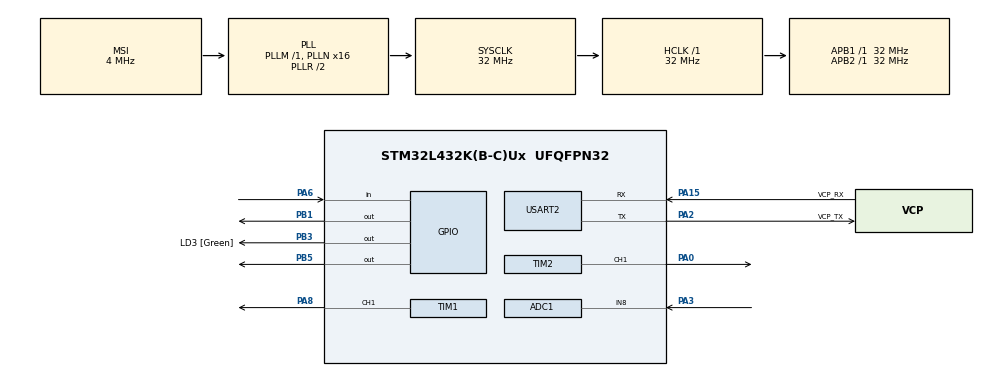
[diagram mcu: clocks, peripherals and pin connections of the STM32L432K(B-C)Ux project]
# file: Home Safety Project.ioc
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ADC1.Channel-2\#ChannelRegularConversion=ADC_CHANNEL_8
ADC1.NbrOfConversionFlag=1
ADC1.OffsetNumber-2\#ChannelRegularConversion=ADC_OFFSET_NONE
ADC1.Rank-2\#ChannelRegularConversion=1
ADC1.SamplingTime-2\#ChannelRegularConversion=ADC_SAMPLETIME_2CYCLES_5
ADC1.master=1
Mcu.Family=STM32L4
Mcu.Name=STM32L432K(B-C)Ux
Mcu.Package=UFQFPN32
NVIC.PriorityGroup=NVIC_PRIORITYGROUP_4
PA0.Signal=S_TIM2_CH1
PA13\ (JTMS-SWDIO).GPIO_Label=SWDIO
PA13\ (JTMS-SWDIO).Mode=Serial_Wire
PA13\ (JTMS-SWDIO).Signal=SYS_JTMS-SWDIO
PA14\ (JTCK-SWCLK).GPIO_Label=SWCLK
PA14\ (JTCK-SWCLK).Mode=Serial_Wire
PA14\ (JTCK-SWCLK).Signal=SYS_JTCK-SWCLK
PA15\ (JTDI).GPIO_Label=VCP_RX
PA15\ (JTDI).Mode=Asynchronous
PA15\ (JTDI).Signal=USART2_RX
PA2.GPIO_Label=VCP_TX
PA2.Mode=Asynchronous
PA2.Signal=USART2_TX
PA3.Signal=ADCx_IN8
PA6.Signal=GPIO_Input
PA8.Signal=S_TIM1_CH1
PB1.Signal=GPIO_Output
PB3\ (JTDO-TRACESWO).GPIO_Label=LD3 [Green]
PB3\ (JTDO-TRACESWO).Signal=GPIO_Output
PB5.Signal=GPIO_Output
ProjectManager.HeapSize=0x200
ProjectManager.StackSize=0x400
ProjectManager.TargetToolchain=STM32CubeIDE
RCC.ADCFreq_Value=32000000
RCC.AHBFreq_Value=32000000
RCC.APB1Freq_Value=32000000
RCC.APB1TimFreq_Value=32000000
RCC.APB2Freq_Value=32000000
RCC.APB2TimFreq_Value=32000000
RCC.CortexFreq_Value=32000000
RCC.HCLKFreq_Value=32000000
RCC.HSE_VALUE=8000000
RCC.HSI16_VALUE=16000000
RCC.HSI48_VALUE=48000000
RCC.HSI_VALUE=16000000
RCC.LSE_VALUE=32768
RCC.MSI_VALUE=4000000
RCC.PLLMUL=RCC_PLLMUL_4
RCC.PLLN=16
RCC.PLLSAI1N=16
RCC.SYSCLKFreq_VALUE=32000000
RCC.SYSCLKSource=RCC_SYSCLKSOURCE_PLLCLK
RCC.USBFreq_Value=32000000
RCC.VCOOutputFreq_Value=64000000
SH.ADCx_IN8.0=ADC1_IN8,IN8-Single-Ended
SH.S_TIM1_CH1.0=TIM1_CH1,PWM Generation1 CH1
SH.S_TIM2_CH1.0=TIM2_CH1,PWM Generation1 CH1
TIM1.Channel-PWM\ Generation1\ CH1=TIM_CHANNEL_1
TIM1.Period=19999
TIM1.Prescaler=31
TIM1.Pulse-PWM\ Generation1\ CH1=1500
TIM2.Channel-PWM\ Generation1\ CH1=TIM_CHANNEL_1
TIM2.Period=19999
TIM2.Prescaler=31
TIM2.Pulse-PWM\ Generation1\ CH1=1500
USART2.VirtualMode-Asynchronous=VM_ASYNC
VP_TIM1_VS_ClockSourceINT.Mode=Internal
VP_TIM2_VS_ClockSourceINT.Mode=Internal
board=NUCLEO-L432KC

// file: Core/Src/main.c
/* USER CODE BEGIN Header */
/**
  ******************************************************************************
  * @file           : main.c
  * @brief          : Main program body
  ******************************************************************************
  * @attention
  *
  * Copyright (c) 2023 STMicroelectronics.
  * All rights reserved.
  *
  * This software is licensed under terms that can be found in the LICENSE file
  * in the root directory of this software component.
  * If no LICENSE file comes with this software, it is provided AS-IS.
  *
  ******************************************************************************
  */
/* USER CODE END Header */
#include "main.h"

/* USER CODE BEGIN PM */
#define PULSE_LEFT 400
#define PULSE_RIGHT 2600
/* USER CODE END PM */

ADC_HandleTypeDef hadc1;

TIM_HandleTypeDef htim1;
TIM_HandleTypeDef htim2;

UART_HandleTypeDef huart2;

void SystemClock_Config(void);
static void MX_GPIO_Init(void);
static void MX_USART2_UART_Init(void);
static void MX_TIM1_Init(void);
static void MX_ADC1_Init(void);
static void MX_TIM2_Init(void);

int main(void)
{

  /* MCU Configuration--------------------------------------------------------*/

  /* Reset of all peripherals, Initializes the Flash interface and the Systick. */
  HAL_Init();

  /* Configure the system clock */
  SystemClock_Config();

  /* Initialize all configured peripherals */
  MX_GPIO_Init();
  MX_USART2_UART_Init();
  MX_TIM1_Init();
  MX_ADC1_Init();
  MX_TIM2_Init();
  /* USER CODE BEGIN 2 */
  if(HAL_TIM_PWM_Start(&htim1, TIM_CHANNEL_1) != HAL_OK)
   {
     /* PWM generation Error */
     Error_Handler();
   }

  if(HAL_TIM_PWM_Start(&htim2, TIM_CHANNEL_1) != HAL_OK)
     {
       /* PWM generation Error */
       Error_Handler();
     }

//  HAL_ADC_Start(&hadc1);

//  HAL_ADC_Start(&hadc1);

  uint8_t water_detected_message[] = "Water Detected\r\n";
  uint8_t adcValueStr[34]; // Buffer big enough for 32-bit number
  int pwm_servo_water = 0;
  int pwm_servo_gas = 0;
  int danger_water = 0;
  int danger_gas = 0;

  uint32_t adcValue = 0;

  int i = 0;
  uint32_t co2Level;

  // Convert ADC value to CO2 level using calibration equation obtained from MQ-135 Datasheet
  float convertADCtoCO2(uint32_t adcValue) {
  // Calibration curve coefficients
	float calibrationCoefficientA = 0.0123;
	float calibrationCoefficientB = 0.4567;
	float calibrationCoefficientC = 0.8901;
    float voltage = (float)adcValue * 5 / 4096;  // Convert ADC value to voltage (12-bit ADC)
    float co2Level = calibrationCoefficientA * voltage * voltage + calibrationCoefficientB * voltage + calibrationCoefficientC;
    return co2Level;
  }

  /* USER CODE END 2 */

  /* Infinite loop */
  /* USER CODE BEGIN WHILE */
  while (1)
  {
	  // Start ADC Conversion

	        // Poll ADC

	  	  // Start ADC Conversion
	  	    if(HAL_ADC_Start(&hadc1) != HAL_OK) // Starts the ADC Conversion
	  	    {
	  	      Error_Handler();
	  	    }

	  	    // Poll ADC
	  	    if(HAL_ADC_PollForConversion(&hadc1, 300) == HAL_OK)
	  	    {
	  	      // Get the converted value
	  	      adcValue = HAL_ADC_GetValue(&hadc1);
	  	    }

	        HAL_Delay(100);

	        if(HAL_ADC_Stop(&hadc1) != HAL_OK)
	        {
	          // Stop ADC Conversion
	          Error_Handler();
	        }

	        co2Level = (uint32_t)convertADCtoCO2(adcValue);
	        // Print the ADC value to the string
	        int len = sprintf(adcValueStr, "%lu\r\n", adcValue); // "%lu" is the format specifier for

	        // Delay to prevent high CPU usage
	        HAL_Delay(600);

	        GPIO_PinState Water = HAL_GPIO_ReadPin(GPIOA, GPIO_PIN_6);
	        if(Water == GPIO_PIN_SET)
	        {
	            danger_water = 1;
	            pwm_servo_water = PULSE_LEFT;			//5% Duty Cycle, (1 ms pulse --> position is all the way to the right)
	        }
	        else
	        {
	        	pwm_servo_water = PULSE_RIGHT;
	        	danger_water = 0;
//	            HAL_Delay(2000);
	        }
	        if(adcValue>1000)
	        {
	        	danger_gas = 1;
	        	pwm_servo_gas = PULSE_LEFT;			//5% Duty Cycle, (1 ms pulse --> position is all the way to the right)
	        }
	        else
	        {
	        	danger_gas = 0;
	        	pwm_servo_gas = PULSE_RIGHT;
	        }

	        if(danger_water || danger_gas)
	        {
	        	HAL_GPIO_WritePin(GPIOB, GPIO_PIN_1,GPIO_PIN_SET);
	        	HAL_GPIO_WritePin(GPIOB, GPIO_PIN_5,GPIO_PIN_SET);
	        }
	        else
	        {
	        	HAL_GPIO_WritePin(GPIOB, GPIO_PIN_1,GPIO_PIN_RESET);
				HAL_GPIO_WritePin(GPIOB, GPIO_PIN_5,GPIO_PIN_RESET);
				//10% Duty Cycle, (2 ms pulse --> position is all the way to the left)
	        }

	        __HAL_TIM_SET_COMPARE(&htim1, TIM_CHANNEL_1, pwm_servo_water);
	        __HAL_TIM_SET_COMPARE(&htim2, TIM_CHANNEL_1, pwm_servo_gas);

	        // Send the ADC value via UART
	        HAL_UART_Transmit(&huart2, (uint8_t*)adcValueStr, len, HAL_MAX_DELAY);

	        char i_str[12]; // Buffer for string representation of i
	        sprintf(i_str, "%d\r\n", i); // Convert i to string
	        HAL_UART_Transmit(&huart2, (uint8_t*)i_str, strlen(i_str), HAL_MAX_DELAY); // Transmit i
	        i++;

    /* USER CODE END WHILE */

  }
}

void SystemClock_Config(void)
{
  RCC_OscInitTypeDef RCC_OscInitStruct = {0};
  RCC_ClkInitTypeDef RCC_ClkInitStruct = {0};

  /** Configure the main internal regulator output voltage
  */
  if (HAL_PWREx_ControlVoltageScaling(PWR_REGULATOR_VOLTAGE_SCALE1) != HAL_OK)
  {
    Error_Handler();
  }

  /** Initializes the RCC Oscillators according to the specified parameters
  * in the RCC_OscInitTypeDef structure.
  */
  RCC_OscInitStruct.OscillatorType = RCC_OSCILLATORTYPE_MSI;
  RCC_OscInitStruct.MSIState = RCC_MSI_ON;
  RCC_OscInitStruct.MSICalibrationValue = 0;
  RCC_OscInitStruct.MSIClockRange = RCC_MSIRANGE_6;
  RCC_OscInitStruct.PLL.PLLState = RCC_PLL_ON;
  RCC_OscInitStruct.PLL.PLLSource = RCC_PLLSOURCE_MSI;
  RCC_OscInitStruct.PLL.PLLM = 1;
  RCC_OscInitStruct.PLL.PLLN = 16;
  RCC_OscInitStruct.PLL.PLLP = RCC_PLLP_DIV7;
  RCC_OscInitStruct.PLL.PLLQ = RCC_PLLQ_DIV2;
  RCC_OscInitStruct.PLL.PLLR = RCC_PLLR_DIV2;
  if (HAL_RCC_OscConfig(&RCC_OscInitStruct) != HAL_OK)
  {
    Error_Handler();
  }

  /** Initializes the CPU, AHB and APB buses clocks
  */
  RCC_ClkInitStruct.ClockType = RCC_CLOCKTYPE_HCLK|RCC_CLOCKTYPE_SYSCLK
                              |RCC_CLOCKTYPE_PCLK1|RCC_CLOCKTYPE_PCLK2;
  RCC_ClkInitStruct.SYSCLKSource = RCC_SYSCLKSOURCE_PLLCLK;
  RCC_ClkInitStruct.AHBCLKDivider = RCC_SYSCLK_DIV1;
  RCC_ClkInitStruct.APB1CLKDivider = RCC_HCLK_DIV1;
  RCC_ClkInitStruct.APB2CLKDivider = RCC_HCLK_DIV1;

  if (HAL_RCC_ClockConfig(&RCC_ClkInitStruct, FLASH_LATENCY_1) != HAL_OK)
  {
    Error_Handler();
  }
}

static void MX_ADC1_Init(void)
{

  ADC_ChannelConfTypeDef sConfig = {0};

  /** Common config
  */
  hadc1.Instance = ADC1;
  hadc1.Init.ClockPrescaler = ADC_CLOCK_ASYNC_DIV1;
  hadc1.Init.Resolution = ADC_RESOLUTION_12B;
  hadc1.Init.DataAlign = ADC_DATAALIGN_RIGHT;
  hadc1.Init.ScanConvMode = ADC_SCAN_DISABLE;
  hadc1.Init.EOCSelection = ADC_EOC_SINGLE_CONV;
  hadc1.Init.LowPowerAutoWait = DISABLE;
  hadc1.Init.ContinuousConvMode = DISABLE;
  hadc1.Init.NbrOfConversion = 1;
  hadc1.Init.DiscontinuousConvMode = DISABLE;
  hadc1.Init.ExternalTrigConv = ADC_SOFTWARE_START;
  hadc1.Init.ExternalTrigConvEdge = ADC_EXTERNALTRIGCONVEDGE_NONE;
  hadc1.Init.DMAContinuousRequests = DISABLE;
  hadc1.Init.Overrun = ADC_OVR_DATA_PRESERVED;
  hadc1.Init.OversamplingMode = DISABLE;
  if (HAL_ADC_Init(&hadc1) != HAL_OK)
  {
    Error_Handler();
  }

  /** Configure Regular Channel
  */
  sConfig.Channel = ADC_CHANNEL_8;
  sConfig.Rank = ADC_REGULAR_RANK_1;
  sConfig.SamplingTime = ADC_SAMPLETIME_2CYCLES_5;
  sConfig.SingleDiff = ADC_SINGLE_ENDED;
  sConfig.OffsetNumber = ADC_OFFSET_NONE;
  sConfig.Offset = 0;
  if (HAL_ADC_ConfigChannel(&hadc1, &sConfig) != HAL_OK)
  {
    Error_Handler();
  }

}

static void MX_TIM1_Init(void)
{

  TIM_ClockConfigTypeDef sClockSourceConfig = {0};
  TIM_MasterConfigTypeDef sMasterConfig = {0};
  TIM_OC_InitTypeDef sConfigOC = {0};
  TIM_BreakDeadTimeConfigTypeDef sBreakDeadTimeConfig = {0};

  htim1.Instance = TIM1;
  htim1.Init.Prescaler = 31;
  htim1.Init.CounterMode = TIM_COUNTERMODE_UP;
  htim1.Init.Period = 19999;
  htim1.Init.ClockDivision = TIM_CLOCKDIVISION_DIV1;
  htim1.Init.RepetitionCounter = 0;
  htim1.Init.AutoReloadPreload = TIM_AUTORELOAD_PRELOAD_DISABLE;
  if (HAL_TIM_Base_Init(&htim1) != HAL_OK)
  {
    Error_Handler();
  }
  sClockSourceConfig.ClockSource = TIM_CLOCKSOURCE_INTERNAL;
  if (HAL_TIM_ConfigClockSource(&htim1, &sClockSourceConfig) != HAL_OK)
  {
    Error_Handler();
  }
  if (HAL_TIM_PWM_Init(&htim1) != HAL_OK)
  {
    Error_Handler();
  }
  sMasterConfig.MasterOutputTrigger = TIM_TRGO_RESET;
  sMasterConfig.MasterOutputTrigger2 = TIM_TRGO2_RESET;
  sMasterConfig.MasterSlaveMode = TIM_MASTERSLAVEMODE_DISABLE;
  if (HAL_TIMEx_MasterConfigSynchronization(&htim1, &sMasterConfig) != HAL_OK)
  {
    Error_Handler();
  }
  sConfigOC.OCMode = TIM_OCMODE_PWM1;
  sConfigOC.Pulse = 0;
  sConfigOC.OCPolarity = TIM_OCPOLARITY_HIGH;
  sConfigOC.OCNPolarity = TIM_OCNPOLARITY_HIGH;
  sConfigOC.OCFastMode = TIM_OCFAST_DISABLE;
  sConfigOC.OCIdleState = TIM_OCIDLESTATE_RESET;
  sConfigOC.OCNIdleState = TIM_OCNIDLESTATE_RESET;
  if (HAL_TIM_PWM_ConfigChannel(&htim1, &sConfigOC, TIM_CHANNEL_1) != HAL_OK)
  {
    Error_Handler();
  }
  sBreakDeadTimeConfig.OffStateRunMode = TIM_OSSR_DISABLE;
  sBreakDeadTimeConfig.OffStateIDLEMode = TIM_OSSI_DISABLE;
  sBreakDeadTimeConfig.LockLevel = TIM_LOCKLEVEL_OFF;
  sBreakDeadTimeConfig.DeadTime = 0;
  sBreakDeadTimeConfig.BreakState = TIM_BREAK_DISABLE;
  sBreakDeadTimeConfig.BreakPolarity = TIM_BREAKPOLARITY_HIGH;
  sBreakDeadTimeConfig.BreakFilter = 0;
  sBreakDeadTimeConfig.Break2State = TIM_BREAK2_DISABLE;
  sBreakDeadTimeConfig.Break2Polarity = TIM_BREAK2POLARITY_HIGH;
  sBreakDeadTimeConfig.Break2Filter = 0;
  sBreakDeadTimeConfig.AutomaticOutput = TIM_AUTOMATICOUTPUT_DISABLE;
  if (HAL_TIMEx_ConfigBreakDeadTime(&htim1, &sBreakDeadTimeConfig) != HAL_OK)
  {
    Error_Handler();
  }
  HAL_TIM_MspPostInit(&htim1);

}

static void MX_TIM2_Init(void)
{

  TIM_ClockConfigTypeDef sClockSourceConfig = {0};
  TIM_MasterConfigTypeDef sMasterConfig = {0};
  TIM_OC_InitTypeDef sConfigOC = {0};

  htim2.Instance = TIM2;
  htim2.Init.Prescaler = 31;
  htim2.Init.CounterMode = TIM_COUNTERMODE_UP;
  htim2.Init.Period = 19999;
  htim2.Init.ClockDivision = TIM_CLOCKDIVISION_DIV1;
  htim2.Init.AutoReloadPreload = TIM_AUTORELOAD_PRELOAD_DISABLE;
  if (HAL_TIM_Base_Init(&htim2) != HAL_OK)
  {
    Error_Handler();
  }
  sClockSourceConfig.ClockSource = TIM_CLOCKSOURCE_INTERNAL;
  if (HAL_TIM_ConfigClockSource(&htim2, &sClockSourceConfig) != HAL_OK)
  {
    Error_Handler();
  }
  if (HAL_TIM_PWM_Init(&htim2) != HAL_OK)
  {
    Error_Handler();
  }
  sMasterConfig.MasterOutputTrigger = TIM_TRGO_RESET;
  sMasterConfig.MasterSlaveMode = TIM_MASTERSLAVEMODE_DISABLE;
  if (HAL_TIMEx_MasterConfigSynchronization(&htim2, &sMasterConfig) != HAL_OK)
  {
    Error_Handler();
  }
  sConfigOC.OCMode = TIM_OCMODE_PWM1;
  sConfigOC.Pulse = 1500;
  sConfigOC.OCPolarity = TIM_OCPOLARITY_HIGH;
  sConfigOC.OCFastMode = TIM_OCFAST_DISABLE;
  if (HAL_TIM_PWM_ConfigChannel(&htim2, &sConfigOC, TIM_CHANNEL_1) != HAL_OK)
  {
    Error_Handler();
  }
  HAL_TIM_MspPostInit(&htim2);

}

static void MX_USART2_UART_Init(void)
{

  huart2.Instance = USART2;
  huart2.Init.BaudRate = 115200;
  huart2.Init.WordLength = UART_WORDLENGTH_8B;
  huart2.Init.StopBits = UART_STOPBITS_1;
  huart2.Init.Parity = UART_PARITY_NONE;
  huart2.Init.Mode = UART_MODE_TX_RX;
  huart2.Init.HwFlowCtl = UART_HWCONTROL_NONE;
  huart2.Init.OverSampling = UART_OVERSAMPLING_16;
  huart2.Init.OneBitSampling = UART_ONE_BIT_SAMPLE_DISABLE;
  huart2.AdvancedInit.AdvFeatureInit = UART_ADVFEATURE_NO_INIT;
  if (HAL_UART_Init(&huart2) != HAL_OK)
  {
    Error_Handler();
  }

}

static void MX_GPIO_Init(void)
{
  GPIO_InitTypeDef GPIO_InitStruct = {0};

  /* GPIO Ports Clock Enable */
  __HAL_RCC_GPIOA_CLK_ENABLE();
  __HAL_RCC_GPIOB_CLK_ENABLE();

  /*Configure GPIO pin Output Level */
  HAL_GPIO_WritePin(GPIOB, GPIO_PIN_1|LD3_Pin|GPIO_PIN_5, GPIO_PIN_RESET);

  /*Configure GPIO pin : PA6 */
  GPIO_InitStruct.Pin = GPIO_PIN_6;
  GPIO_InitStruct.Mode = GPIO_MODE_INPUT;
  GPIO_InitStruct.Pull = GPIO_NOPULL;
  HAL_GPIO_Init(GPIOA, &GPIO_InitStruct);

  /*Configure GPIO pins : PB1 LD3_Pin PB5 */
  GPIO_InitStruct.Pin = GPIO_PIN_1|LD3_Pin|GPIO_PIN_5;
  GPIO_InitStruct.Mode = GPIO_MODE_OUTPUT_PP;
  GPIO_InitStruct.Pull = GPIO_NOPULL;
  GPIO_InitStruct.Speed = GPIO_SPEED_FREQ_LOW;
  HAL_GPIO_Init(GPIOB, &GPIO_InitStruct);

}

void Error_Handler(void)
{
  __disable_irq();
  while (1)
  {
  }
}
